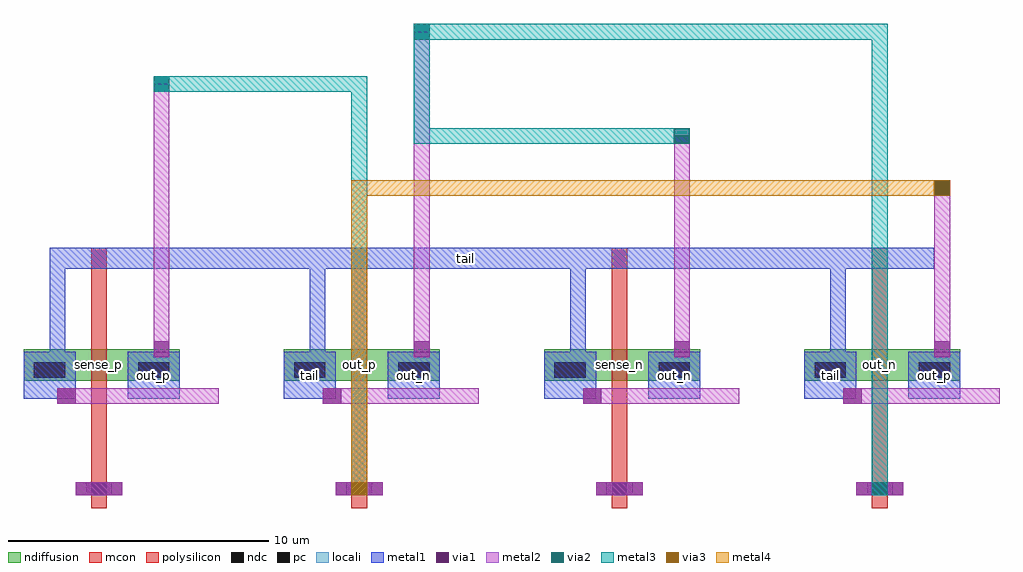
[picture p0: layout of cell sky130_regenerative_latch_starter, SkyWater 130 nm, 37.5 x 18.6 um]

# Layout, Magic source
magic
tech sky130A
<< ndiffusion >>
rect 300 690 900 810
rect 1300 690 1900 810
rect 2300 690 2900 810
rect 3300 690 3900 810
<< polysilicon >>
rect 560 200 620 1200
rect 1560 200 1620 1200
rect 2560 200 2620 1200
rect 3560 200 3620 1200
<< pc >>
rect 560 250 620 300
rect 1560 250 1620 300
rect 2560 250 2620 300
rect 3560 250 3620 300
<< locali >>
rect 560 250 620 300
rect 1560 250 1620 300
rect 2560 250 2620 300
rect 3560 250 3620 300
<< ndc >>
rect 340 700 460 760
rect 740 700 860 760
rect 1340 700 1460 760
rect 1740 700 1860 760
rect 2340 700 2460 760
rect 2740 700 2860 760
rect 3340 700 3460 760
rect 3740 700 3860 760
<< mcon >>
rect 560 250 620 300
rect 1560 250 1620 300
rect 2560 250 2620 300
rect 3560 250 3620 300
rect 340 700 460 760
rect 740 700 860 760
rect 1340 700 1460 760
rect 1740 700 1860 760
rect 2340 700 2460 760
rect 2740 700 2860 760
rect 3340 700 3460 760
rect 3740 700 3860 760
<< metal1 >>
rect 540 250 640 300
rect 1540 250 1640 300
rect 2540 250 2640 300
rect 3540 250 3640 300
rect 300 620 500 800
rect 700 620 900 800
rect 1300 620 1500 800
rect 1700 620 1900 800
rect 2300 620 2500 800
rect 2700 620 2900 800
rect 3300 620 3500 800
rect 3700 620 3900 800
rect 400 1120 3800 1200
rect 400 760 460 1160
rect 1400 760 1460 1160
rect 2400 760 2460 1160
rect 3400 760 3460 1160
<< metal2 >>
rect 500 250 680 300
rect 1500 250 1680 300
rect 2500 250 2680 300
rect 3500 250 3680 300
rect 430 600 1050 660
rect 1450 600 2050 660
rect 2450 600 3050 660
rect 3450 600 4050 660
rect 800 780 860 1830
rect 1800 780 1860 2030
rect 2800 780 2860 1630
rect 3800 780 3860 1430
<< via1 >>
rect 500 250 680 300
rect 1500 250 1680 300
rect 2500 250 2680 300
rect 3500 250 3680 300
rect 430 600 500 660
rect 1450 600 1520 660
rect 2450 600 2520 660
rect 3450 600 3520 660
rect 800 780 860 840
rect 1800 780 1860 840
rect 2800 780 2860 840
rect 3800 780 3860 840
<< metal3 >>
rect 1560 250 1620 1860
rect 3560 250 3620 2060
rect 800 1800 1560 1860
rect 1800 2000 3560 2060
rect 1800 1600 2800 1660
rect 1800 1600 1860 2060
<< via2 >>
rect 1560 250 1620 300
rect 3560 250 3620 300
rect 800 1800 860 1860
rect 1800 2000 1860 2060
rect 2800 1600 2860 1660
rect 3800 1400 3860 1460
<< metal4 >>
rect 1560 250 1620 1460
rect 1560 1400 3800 1460
<< via3 >>
rect 1560 250 1620 300
rect 3800 1400 3860 1460
<< labels >>
rlabel metal1 1800 1120 2200 1200 0 tail
port 9 nsew
rlabel metal1 700 620 900 800 0 out_p
port 1 nsew
rlabel metal1 1300 620 1500 800 0 tail
port 2 nsew
rlabel metal1 2700 620 2900 800 0 out_n
port 3 nsew
rlabel metal1 3300 620 3500 800 0 tail
port 4 nsew
rlabel metal1 1700 620 1900 800 0 out_n
port 10 nsew
rlabel metal1 3700 620 3900 800 0 out_p
port 11 nsew
rlabel polysilicon 560 300 620 1200 0 sense_p
port 5 nsew
rlabel polysilicon 1560 300 1620 1200 0 out_p
port 6 nsew
rlabel polysilicon 2560 300 2620 1200 0 sense_n
port 7 nsew
rlabel polysilicon 3560 300 3620 1200 0 out_n
port 8 nsew
<< end >>
